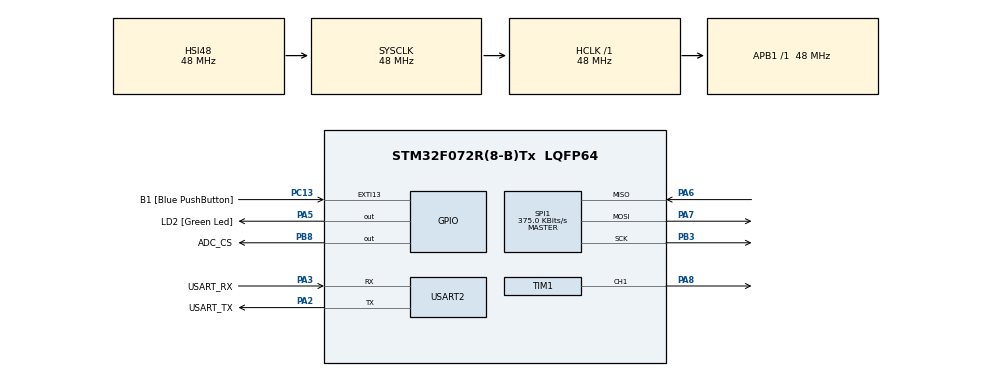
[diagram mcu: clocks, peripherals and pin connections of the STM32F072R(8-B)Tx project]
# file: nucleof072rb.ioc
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Mcu.Family=STM32F0
Mcu.Name=STM32F072R(8-B)Tx
Mcu.Package=LQFP64
PA13.GPIO_Label=TMS
PA13.Mode=Serial_Wire
PA13.Signal=SYS_SWDIO
PA14.GPIO_Label=TCK
PA14.Mode=Serial_Wire
PA14.Signal=SYS_SWCLK
PA2.GPIO_Label=USART_TX
PA2.GPIO_Mode=GPIO_MODE_AF_PP
PA2.GPIO_PuPd=GPIO_NOPULL
PA2.GPIO_Speed=GPIO_SPEED_FREQ_LOW
PA2.Mode=Asynchronous
PA2.Signal=USART2_TX
PA3.GPIO_Label=USART_RX
PA3.GPIO_Mode=GPIO_MODE_AF_PP
PA3.GPIO_PuPd=GPIO_NOPULL
PA3.GPIO_Speed=GPIO_SPEED_FREQ_LOW
PA3.Mode=Asynchronous
PA3.Signal=USART2_RX
PA5.GPIO_Label=LD2 [Green Led]
PA5.GPIO_Mode=GPIO_MODE_OUTPUT_PP
PA5.GPIO_PuPd=GPIO_NOPULL
PA5.GPIO_Speed=GPIO_SPEED_FREQ_LOW
PA5.Signal=GPIO_Output
PA6.Mode=Full_Duplex_Master
PA6.Signal=SPI1_MISO
PA7.Mode=Full_Duplex_Master
PA7.Signal=SPI1_MOSI
PA8.Signal=S_TIM1_CH1
PB3.Mode=Full_Duplex_Master
PB3.Signal=SPI1_SCK
PB8.GPIO_Label=ADC_CS
PB8.PinState=GPIO_PIN_SET
PB8.Signal=GPIO_Output
PC13.GPIO_Label=B1 [Blue PushButton]
PC13.GPIO_ModeDefaultEXTI=GPIO_MODE_IT_FALLING
PC13.Signal=GPXTI13
PC14-OSC32_IN.Mode=LSE-External-Oscillator
PC14-OSC32_IN.Signal=RCC_OSC32_IN
PC15-OSC32_OUT.Mode=LSE-External-Oscillator
PC15-OSC32_OUT.Signal=RCC_OSC32_OUT
PF0-OSC_IN.Mode=HSE-External-Clock-Source
PF0-OSC_IN.Signal=RCC_OSC_IN
PF1-OSC_OUT.Signal=RCC_OSC_OUT
ProjectManager.HeapSize=0x200
ProjectManager.StackSize=0x400
ProjectManager.TargetToolchain=STM32CubeIDE
RCC.AHBFreq_Value=48000000
RCC.APB1Freq_Value=48000000
RCC.APB1TimFreq_Value=48000000
RCC.FLatency-AdvancedSettings=FLASH_LATENCY_1
RCC.HCLKFreq_Value=48000000
RCC.PLLDivider=RCC_PREDIV_DIV2
RCC.PLLMUL=RCC_PLL_MUL12
RCC.PREFETCH_ENABLE-AdvancedSettings=1
RCC.SYSCLKFreq_VALUE=48000000
RCC.SYSCLKSource=RCC_SYSCLKSOURCE_HSI48
SH.S_TIM1_CH1.0=TIM1_CH1,PWM Generation1 CH1
SPI1.BaudRatePrescaler=SPI_BAUDRATEPRESCALER_128
SPI1.CalculateBaudRate=375.0 KBits/s
SPI1.DataSize=SPI_DATASIZE_8BIT
SPI1.Direction=SPI_DIRECTION_2LINES
SPI1.Mode=SPI_MODE_MASTER
SPI1.VirtualType=VM_MASTER
TIM1.Channel-PWM\ Generation1\ CH1=TIM_CHANNEL_1
TIM1.Period=63999
TIM1.Prescaler=14
TIM1.Pulse-PWM\ Generation1\ CH1=32000
USART2.VirtualMode=VM_ASYNC
USART2.VirtualMode-Asynchronous=VM_ASYNC
VP_TIM1_VS_ClockSourceINT.Mode=Internal
board=NUCLEO-F072RB

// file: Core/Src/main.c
/* USER CODE BEGIN Header */
/**
  ******************************************************************************
  * @file           : main.c
  * @brief          : Main program body
  ******************************************************************************
  * @attention
  *
  * <h2><center>&copy; Copyright (c) 2021 STMicroelectronics.
  * All rights reserved.</center></h2>
  *
  * This software component is licensed by ST under BSD 3-Clause license,
  * the "License"; You may not use this file except in compliance with the
  * License. You may obtain a copy of the License at:
  *                        opensource.org/licenses/BSD-3-Clause
  *
  ******************************************************************************
  */
/* USER CODE END Header */
#include "main.h"
#include "spi.h"
#include "tim.h"
#include "usart.h"
#include "gpio.h"

void SystemClock_Config(void);
/* USER CODE BEGIN PFP */
uint16_t read_adc_value(void);

/* USER CODE END PFP */

int main(void)
{

  /* MCU Configuration--------------------------------------------------------*/

  /* Reset of all peripherals, Initializes the Flash interface and the Systick. */
  HAL_Init();

  /* Configure the system clock */
  SystemClock_Config();

  /* Initialize all configured peripherals */
  MX_GPIO_Init();
  MX_USART2_UART_Init();
  MX_SPI1_Init();
  MX_TIM1_Init();
  /* USER CODE BEGIN 2 */

  HAL_TIM_PWM_Start(&htim1, TIM_CHANNEL_1); //Start PWM generationm on TIM1 channel 1

  //Set initnial duty cycle (5% = 1 ms at 50 hz)
  __HAL_TIM_SET_COMPARE(&htim1, TIM_CHANNEL_1, 1000);

  /* USER CODE END 2 */

  /* Infinite loop */
  /* USER CODE BEGIN WHILE */
  while (1)
  {
	  uint16_t adc_raw = 0;
	  uint16_t pwm_duty = 0;

	  //Read adc from potentiometr
	  adc_raw = read_adc_value();

	  //Map ADC value (0-1023) to PWM pulse width (1000-2000)
	  //This gives 1ms ro 2ms pulse width for 50hz signal

	  pwm_duty  = 1000 +(adc_raw * 1000 /1023);

	  //set pwm duty cycle
	  __HAL_TIM_SET_COMPARE(&htim1, TIM_CHANNEL_1, pwm_duty);

	  //Delay to prevent overload to the ADC
	  HAL_Delay(10);
    /* USER CODE END WHILE */

  }
}

void SystemClock_Config(void)
{
  RCC_OscInitTypeDef RCC_OscInitStruct = {0};
  RCC_ClkInitTypeDef RCC_ClkInitStruct = {0};
  RCC_PeriphCLKInitTypeDef PeriphClkInit = {0};

  /** Initializes the RCC Oscillators according to the specified parameters
  * in the RCC_OscInitTypeDef structure.
  */
  RCC_OscInitStruct.OscillatorType = RCC_OSCILLATORTYPE_HSI48;
  RCC_OscInitStruct.HSI48State = RCC_HSI48_ON;
  RCC_OscInitStruct.PLL.PLLState = RCC_PLL_NONE;
  if (HAL_RCC_OscConfig(&RCC_OscInitStruct) != HAL_OK)
  {
    Error_Handler();
  }

  /** Initializes the CPU, AHB and APB buses clocks
  */
  RCC_ClkInitStruct.ClockType = RCC_CLOCKTYPE_HCLK|RCC_CLOCKTYPE_SYSCLK
                              |RCC_CLOCKTYPE_PCLK1;
  RCC_ClkInitStruct.SYSCLKSource = RCC_SYSCLKSOURCE_HSI48;
  RCC_ClkInitStruct.AHBCLKDivider = RCC_SYSCLK_DIV1;
  RCC_ClkInitStruct.APB1CLKDivider = RCC_HCLK_DIV1;

  if (HAL_RCC_ClockConfig(&RCC_ClkInitStruct, FLASH_LATENCY_1) != HAL_OK)
  {
    Error_Handler();
  }
  PeriphClkInit.PeriphClockSelection = RCC_PERIPHCLK_USART2;
  PeriphClkInit.Usart2ClockSelection = RCC_USART2CLKSOURCE_PCLK1;
  if (HAL_RCCEx_PeriphCLKConfig(&PeriphClkInit) != HAL_OK)
  {
    Error_Handler();
  }
}

/* USER CODE BEGIN 4 */

uint16_t read_adc_value(void){
	uint8_t tx_data[3] = {0};
	uint8_t rx_data[3] = {0};
	uint16_t adc_value = 0;

	//MCP3005 command fromat for single ended channel
	//start bit  = 1, SGL/ DIFF  = 1 (singl end) D2,D1,D1 = 000

	tx_data[0] =  0x01; //start bit
	tx_data[1] = 0x80; // 1 (SGL/DIFF) + 000  == 1000 0000 = 0x80
	tx_data[2] = 0x00;

	//Pull cs to low to select adc
	HAL_GPIO_WritePin(GPIOB, GPIO_PIN_8, GPIO_PIN_RESET);

	//Trasmit and receive data simultaneously
    HAL_SPI_TransmitReceive(&hspi1, tx_data, rx_data, 3, HAL_MAX_DELAY);

    //Pull cs High to deselect ADC
    HAL_GPIO_WritePin(GPIOB, GPIO_PIN_8, GPIO_PIN_SET);

    //Extract 10-bit ADC value from response
    //rx_data[1] contains bit 9-2, rx_data[2 constains bits 1-0

    adc_value = ((rx_data[1] & 0x03) << 8) | rx_data[2];

    return adc_value;
}

/* USER CODE END 4 */

void Error_Handler(void)
{
  __disable_irq();
  while (1)
  {
  }
}
